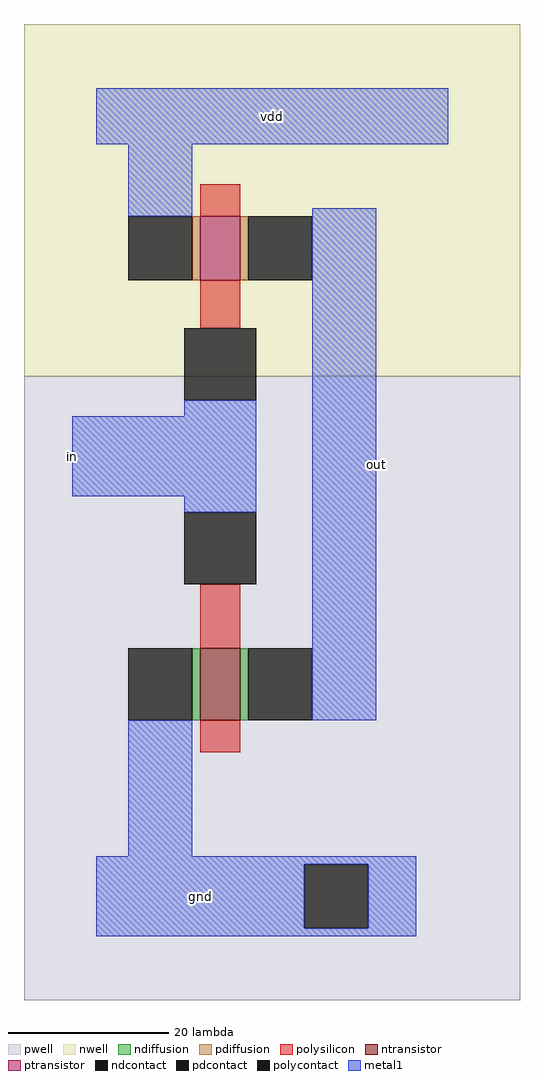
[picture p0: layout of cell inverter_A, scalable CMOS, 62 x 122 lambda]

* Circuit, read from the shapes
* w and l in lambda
.subckt inverter_A vdd in out gnd
M1 out in gnd VSUBS nfet w=9 l=5
M2 out in vdd n1 pfet w=8 l=5
.ends

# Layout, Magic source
magic
tech scmos
<< nwell >>
rect -23 -20 39 24
<< pwell >>
rect -23 -98 39 -20
<< ntransistor >>
rect -1 -63 4 -54
<< ptransistor >>
rect -1 -8 4 0
<< ndiffusion >>
rect -2 -63 -1 -54
rect 4 -63 5 -54
<< pdiffusion >>
rect -2 -8 -1 0
rect 4 -8 5 0
<< ndcontact >>
rect -10 -63 -2 -54
rect 5 -63 13 -54
rect 12 -89 20 -81
<< pdcontact >>
rect -10 -8 -2 0
rect 5 -8 13 0
<< polysilicon >>
rect -1 0 4 4
rect -1 -14 4 -8
rect -1 -54 4 -46
rect -1 -67 4 -63
<< polycontact >>
rect -3 -23 6 -14
rect -3 -46 6 -37
<< metal1 >>
rect -14 9 30 16
rect -10 0 -2 9
rect -3 -25 6 -23
rect -17 -35 6 -25
rect -3 -37 6 -35
rect 13 -63 21 1
rect -10 -80 -2 -63
rect -14 -81 26 -80
rect -14 -89 12 -81
rect 20 -89 26 -81
rect -14 -90 26 -89
<< labels >>
rlabel metal1 -14 9 30 16 0 vdd
port 1 nsew
rlabel metal1 -17 -35 -17 -25 0 in
port 2 nsew
rlabel metal1 21 -63 21 1 0 out
port 3 nsew
rlabel metal1 -14 -90 12 -80 0 gnd
port 4 nsew
<< end >>
